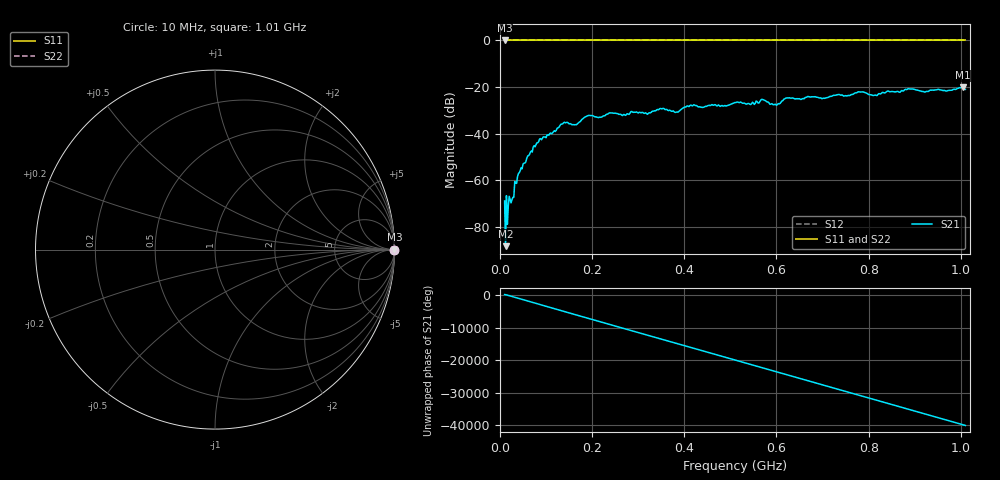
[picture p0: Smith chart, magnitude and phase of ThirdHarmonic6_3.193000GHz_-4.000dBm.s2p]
! 8/17/2025 9:40:24 AM
! C:\ANRITSUVNA\TEMP\TEMP.S2P
! CHANNEL.1
! TR.MEASUREMENT
! RAW.DATA
! RF.CORRECTION.OFF
! AVERAGING.OFF
! IF.BANDWIDTH: 5KHZ
! SWEEPTYPE:  FREQ.SWEEP(Linear)
! Reference Plane Port Info
! PORT:  PORT1  PORT2
! DISTANCE:  0  m  0  m
! TIME:  0  s  0  s
! PHASE.OFFSET:  0  deg.  0  deg.
! LOSS:  0  dB  0  dB
! REF.LOSS:  0  dB  0  dB
! REF.FREQ:  0  Hz  0  Hz
! Power Info
! POWER:  -20  dBm  -20  dBm
! EFF.POWER:  -20  dBm  -20  dBm
! SOURCE.ATTEN:  0  dB  0  dB
! TEST.ATTEN:  0  dB  0  dB
# GHZ S RI R 50.0
! FREQ.GHZ  S11RE  S11IM  S21RE  S21IM  S12RE  S12IM  S22RE  S22IM
!; PortSelection: Port_12
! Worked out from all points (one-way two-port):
!   501 points, 10 MHz to 1.01 GHz, reference 50 ohm
!   highest |S21| = -20.16 dB at 1.004 GHz (marker M1); lowest = -88.2 dB at 12 MHz (marker M2)
!   lowest |S11| = 0.0 dB at 10 MHz (marker M3)
!   |S11| at or under -10 dB: nowhere
!   |S22| runs from 0.0 to 0.0 dB; largest |S21 - S12| = 1.1
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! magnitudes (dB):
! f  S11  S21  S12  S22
! 10 MHz  0.0  -68.8  0.0  0.0
! 12 MHz  0.0  -88.2  0.0  0.0
! 16 MHz  0.0  -78.8  0.0  0.0
! 18 MHz  0.0  -71.0  0.0  0.0
! 26 MHz  0.0  -68.2  0.0  0.0
! 42 MHz  0.0  -56.6  0.0  0.0
! 84 MHz  0.0  -43.3  0.0  0.0
! 136 MHz  0.0  -35.8  0.0  0.0
! 164 MHz  0.0  -36.2  0.0  0.0
! 178 MHz  0.0  -33.8  0.0  0.0
! 194 MHz  0.0  -32.1  0.0  0.0
! 344 MHz  0.0  -29.7  0.0  0.0
! 384 MHz  0.0  -30.6  0.0  0.0
! 416 MHz  0.0  -27.9  0.0  0.0
! 510 MHz  0.0  -26.6  0.0  0.0
! 570 MHz  0.0  -25.3  0.0  0.0
! 598 MHz  0.0  -27.4  0.0  0.0
! 624 MHz  0.0  -24.6  0.0  0.0
! 678 MHz  0.0  -24.2  0.0  0.0
! 844 MHz  0.0  -21.8  0.0  0.0
! 1.004 GHz  0.0  -20.2  0.0  0.0
! 1.01 GHz  0.0  -21.0  0.0  0.0
